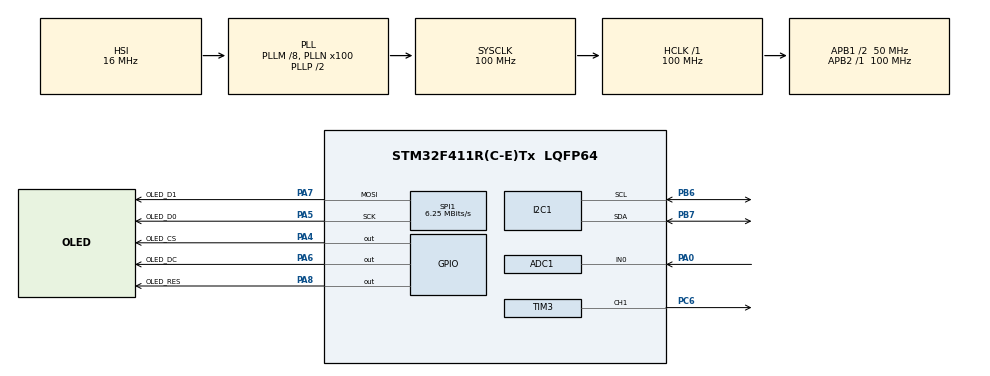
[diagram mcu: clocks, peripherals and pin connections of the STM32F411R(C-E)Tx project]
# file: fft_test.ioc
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ADC1.Channel-1\#ChannelRegularConversion=ADC_CHANNEL_0
ADC1.ClockPrescaler=ADC_CLOCK_SYNC_PCLK_DIV8
ADC1.DMAContinuousRequests=ENABLE
ADC1.ExternalTrigConv=ADC_EXTERNALTRIGCONV_T2_TRGO
ADC1.InjNumberOfConversion=0
ADC1.NbrOfConversionFlag=1
ADC1.Rank-1\#ChannelRegularConversion=1
ADC1.SamplingTime-1\#ChannelRegularConversion=ADC_SAMPLETIME_3CYCLES
ADC1.master=1
Dma.ADC1.0.Direction=DMA_PERIPH_TO_MEMORY
Dma.ADC1.0.FIFOMode=DMA_FIFOMODE_DISABLE
Dma.ADC1.0.Instance=DMA2_Stream0
Dma.ADC1.0.MemDataAlignment=DMA_MDATAALIGN_HALFWORD
Dma.ADC1.0.MemInc=DMA_MINC_ENABLE
Dma.ADC1.0.Mode=DMA_CIRCULAR
Dma.ADC1.0.PeriphDataAlignment=DMA_PDATAALIGN_HALFWORD
Dma.ADC1.0.PeriphInc=DMA_PINC_DISABLE
Dma.ADC1.0.Priority=DMA_PRIORITY_LOW
Dma.Request0=ADC1
I2C1.I2C_Mode=I2C_Fast
Mcu.Family=STM32F4
Mcu.Name=STM32F411R(C-E)Tx
Mcu.Package=LQFP64
NVIC.DMA2_Stream0_IRQn=true\:0\:0\:false\:false\:true\:false\:true\:true
NVIC.PriorityGroup=NVIC_PRIORITYGROUP_4
NVIC.TIM2_IRQn=true\:0\:0\:false\:false\:true\:true\:true\:true
PA0-WKUP.Signal=ADCx_IN0
PA4.GPIO_Label=OLED_CS
PA4.Signal=GPIO_Output
PA5.GPIO_Label=OLED_D0
PA5.Mode=TX_Only_Simplex_Unidirect_Master
PA5.Signal=SPI1_SCK
PA6.GPIO_Label=OLED_DC
PA6.Signal=GPIO_Output
PA7.GPIO_Label=OLED_D1
PA7.Mode=TX_Only_Simplex_Unidirect_Master
PA7.Signal=SPI1_MOSI
PA8.GPIO_Label=OLED_RES
PA8.Signal=GPIO_Output
PB6.GPIO_Pu=GPIO_PULLUP
PB6.Mode=I2C
PB6.Signal=I2C1_SCL
PB7.GPIO_Pu=GPIO_PULLUP
PB7.Mode=I2C
PB7.Signal=I2C1_SDA
PC6.Signal=S_TIM3_CH1
ProjectManager.HeapSize=0x200
ProjectManager.StackSize=0x400
ProjectManager.TargetToolchain=STM32CubeIDE
RCC.48MHZClocksFreq_Value=50000000
RCC.AHBFreq_Value=100000000
RCC.APB1CLKDivider=RCC_HCLK_DIV2
RCC.APB1Freq_Value=50000000
RCC.APB1TimFreq_Value=100000000
RCC.APB2Freq_Value=100000000
RCC.APB2TimFreq_Value=100000000
RCC.CortexFreq_Value=100000000
RCC.HCLKFreq_Value=100000000
RCC.HSE_VALUE=25000000
RCC.HSI_VALUE=16000000
RCC.LSE_VALUE=32768
RCC.PLLM=8
RCC.PLLN=100
RCC.SYSCLKFreq_VALUE=100000000
RCC.SYSCLKSource=RCC_SYSCLKSOURCE_PLLCLK
RCC.VCOOutputFreq_Value=200000000
SH.ADCx_IN0.0=ADC1_IN0,IN0
SH.S_TIM3_CH1.0=TIM3_CH1,PWM Generation1 CH1
SPI1.BaudRatePrescaler=SPI_BAUDRATEPRESCALER_16
SPI1.CLKPhase=SPI_PHASE_2EDGE
SPI1.CLKPolarity=SPI_POLARITY_HIGH
SPI1.CalculateBaudRate=6.25 MBits/s
SPI1.Direction=SPI_DIRECTION_2LINES
SPI1.Mode=SPI_MODE_MASTER
SPI1.VirtualType=VM_MASTER
TIM2.Period=25-1
TIM2.Prescaler=100-1
TIM2.TIM_MasterOutputTrigger=TIM_TRGO_UPDATE
TIM3.Channel-PWM\ Generation1\ CH1=TIM_CHANNEL_1
TIM3.Period=1000-1
TIM3.Prescaler=100-1
TIM3.Pulse-PWM\ Generation1\ CH1=500-1
VP_TIM2_VS_ClockSourceINT.Mode=Internal
VP_TIM3_VS_ClockSourceINT.Mode=Internal
board=custom

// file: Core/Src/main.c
/* USER CODE BEGIN Header */
/**
 ******************************************************************************
 * @file           : main.c
 * @brief          : Main program body
 ******************************************************************************
 * @attention
 *
 * Copyright (c) 2024 STMicroelectronics.
 * All rights reserved.
 *
 * This software is licensed under terms that can be found in the LICENSE file
 * in the root directory of this software component.
 * If no LICENSE file comes with this software, it is provided AS-IS.
 *
 ******************************************************************************
 */
/* USER CODE END Header */
#include "main.h"

/* USER CODE BEGIN Includes */
#include "u8g2/u8g2.h"
#include <math.h>
#include "arm_math.h"
#include "I2C_CLCD.h"
/* USER CODE END Includes */

/* USER CODE BEGIN PD */
#define FFT_Length 1024

/* USER CODE END PD */

ADC_HandleTypeDef hadc1;
DMA_HandleTypeDef hdma_adc1;

I2C_HandleTypeDef hi2c1;

SPI_HandleTypeDef hspi1;

TIM_HandleTypeDef htim2;
TIM_HandleTypeDef htim3;

/* USER CODE BEGIN PV */
float32_t FFT_Input_Q15_f[50];
float32_t aFFT_Input_Q15[50];

/* USER CODE END PV */

void SystemClock_Config(void);
static void MX_GPIO_Init(void);
static void MX_DMA_Init(void);
static void MX_SPI1_Init(void);
static void MX_ADC1_Init(void);
static void MX_TIM2_Init(void);
static void MX_TIM3_Init(void);
static void MX_I2C1_Init(void);
/* USER CODE BEGIN PFP */
extern uint8_t u8x8_stm32_gpio_and_delay(u8x8_t *u8x8, uint8_t msg,
		uint8_t arg_int, void *arg_ptr);
extern uint8_t u8x8_byte_stm32_hw_spi(u8x8_t *u8x8, uint8_t msg,
		uint8_t arg_int, void *arg_ptr);
/* USER CODE END PFP */

/* USER CODE BEGIN 0 */
static u8g2_t u8g2;
uint32_t doConvert = 128;
//fft
#define SamplesFft 2048
#define SamplingRate 40000
uint16_t adValue[SamplesFft];
float32_t input[SamplesFft];
float32_t output[SamplesFft];

void HAL_TIM_PeriodElapsedCallback(TIM_HandleTypeDef *hTim) {
	if (doConvert > 0)
		doConvert--;
}
//void writeI2C(uint16_t address, uint8_t data){
//
//	HAL_I2C_Mem_Write(&hi2c1, 0x27, address, 2,&data,1, 1);
//}
//void readI2C(uint16_t address){
//	uint8_t result;
//	HAL_I2C_Mem_Read(&hi2c1, 0x27, address, 2,&result,1, 1);
//	return result;
//}
/* USER CODE END 0 */

int main(void)
{

  /* USER CODE BEGIN 1 */
			//arm_float_to_q15((float32_t*)&FFT_Input_Q15_f[0],(q15_t*)&aFFT_Input_Q15[0],FFT_Length*2);
  /* USER CODE END 1 */

  /* MCU Configuration--------------------------------------------------------*/

  /* Reset of all peripherals, Initializes the Flash interface and the Systick. */
  HAL_Init();

  /* Configure the system clock */
  SystemClock_Config();

  /* Initialize all configured peripherals */
  MX_GPIO_Init();
  MX_DMA_Init();
  MX_SPI1_Init();
  MX_ADC1_Init();
  MX_TIM2_Init();
  MX_TIM3_Init();
  MX_I2C1_Init();
  /* USER CODE BEGIN 2 */
	uint16_t adcValue[SamplesFft];
	HAL_ADC_Start_DMA(&hadc1, (uint32_t*) adcValue, SamplesFft);
	HAL_TIM_Base_Start_IT(&htim2);
	HAL_TIM_PWM_Start(&htim3,TIM_CHANNEL_1);
	//init CLCD
	I2C_CLCD_init(&hi2c1);
	//setup ssd1306
	u8g2_Setup_ssd1306_128x64_noname_f(&u8g2, U8G2_R0, u8x8_byte_stm32_hw_spi,
			u8x8_stm32_gpio_and_delay);
	//init ssd1306
	u8g2_InitDisplay(&u8g2);
	u8g2_SetPowerSave(&u8g2, 0);
//
  u8g2_ClearBuffer(&u8g2);
//  u8g2_SetDrawColor(&u8g2, 1);
	 u8g2_SetFont(&u8g2, u8g2_font_5x7_mf);
	// u8g2_DrawStr(&u8g2, 0, 0, "Hello world");
	// korean font
//  u8g2_SetFont(&u8g2, u8g2_font_unifont_t_korean1);
//  u8g2_DrawUTF8(&u8g2, 2, 30, "?��?��? ?��?��구니?");
//  u8g2_SendBuffer(&u8g2);

  /* USER CODE END 2 */

  /* Infinite loop */
  /* USER CODE BEGIN WHILE */
	u8g2_SetDrawColor(&u8g2, 1);

	/*/i2c test code
	int lineNumber = 10;
	for(int address =0; address<256; address++){
		if(HAL_I2C_IsDeviceReady(&hi2c1, address,0,1)==HAL_OK){
			char str[20];
			sprintf(str, "0x%02x is ok", address);
			u8g2_DrawStr(&u8g2,0,lineNumber,str);
			lineNumber +=10;
		}
	}
  u8g2_SendBuffer(&u8g2);
	while(1);
	//*/
	//lcd custion font
	I2C_CLCD_CustomFont();
	I2C_CLCD_GotoXY(0, 0);
	I2C_CLCD_
	//initialize FFT
	arm_rfft_fast_instance_f32 fftInstance;
	arm_rfft_fast_init_f32(&fftInstance, SamplesFft);
	while (1) {
			static int time;
			static int freq =1;
			if(HAL_GetTick() - time > 10){
				time =HAL_GetTick();
				freq +=10;
				freq %=20000;
				htim3.Instance->ARR = 1000000 /freq -1;
				htim3.Instance ->CNT = 0;
				htim3.Instance->CCR1 = htim3.Instance->ARR/2;
			}
			if (doConvert==0){
			doConvert = SamplesFft;
			//date move
			for(int i=0; i<SamplesFft; i++){
				input[i] =(float32_t)adcValue[i];
			}
			//cal fft
			arm_rfft_fast_f32(&fftInstance,input,output,0);
			//search frequency
			float32_t magnitude[SamplesFft /2];
			arm_cmplx_mag_f32(output, magnitude, SamplesFft/2);

			uint32_t maxIndex = 0;
			float32_t maxValue = 0;
			for (int i =1; i<SamplesFft/2; i++){
				if(magnitude[i]>maxValue){
					maxValue = magnitude[i];
					maxIndex = i;
				}
			}
			float frequency = maxIndex *((float)SamplingRate/(float)SamplesFft);
			//align data
			uint32_t showData[128] = {0, };
			for(int i =0; i<128; i++){
				for(int j =0; j<8; j++){
					showData[i] += output[i*8+j];
				}
				showData[i] /= 40000;
			}
			//show display
			u8g2_ClearBuffer(&u8g2);
			for (int x = 2; x < 128; x++) {
				if(showData[x] > 63) showData[x] = 63;
				u8g2_DrawLine(&u8g2, x,63,x, 64-showData[x]);
			}
			char str[20];
			sprintf(str, "%5dHz", (int)frequency);
			I2C_CLCD_GotoXY(0, 0);
			I2C_CLCD_PutStr(str);
			//u8g2_DrawStr(&u8g2,70,10,str);
			u8g2_SendBuffer(&u8g2);
		}

    /* USER CODE END WHILE */

	}

}
void SystemClock_Config(void)
{
  RCC_OscInitTypeDef RCC_OscInitStruct = {0};
  RCC_ClkInitTypeDef RCC_ClkInitStruct = {0};

  /** Configure the main internal regulator output voltage
  */
  __HAL_RCC_PWR_CLK_ENABLE();
  __HAL_PWR_VOLTAGESCALING_CONFIG(PWR_REGULATOR_VOLTAGE_SCALE1);

  /** Initializes the RCC Oscillators according to the specified parameters
  * in the RCC_OscInitTypeDef structure.
  */
  RCC_OscInitStruct.OscillatorType = RCC_OSCILLATORTYPE_HSI;
  RCC_OscInitStruct.HSIState = RCC_HSI_ON;
  RCC_OscInitStruct.HSICalibrationValue = RCC_HSICALIBRATION_DEFAULT;
  RCC_OscInitStruct.PLL.PLLState = RCC_PLL_ON;
  RCC_OscInitStruct.PLL.PLLSource = RCC_PLLSOURCE_HSI;
  RCC_OscInitStruct.PLL.PLLM = 8;
  RCC_OscInitStruct.PLL.PLLN = 100;
  RCC_OscInitStruct.PLL.PLLP = RCC_PLLP_DIV2;
  RCC_OscInitStruct.PLL.PLLQ = 4;
  if (HAL_RCC_OscConfig(&RCC_OscInitStruct) != HAL_OK)
  {
    Error_Handler();
  }

  /** Initializes the CPU, AHB and APB buses clocks
  */
  RCC_ClkInitStruct.ClockType = RCC_CLOCKTYPE_HCLK|RCC_CLOCKTYPE_SYSCLK
                              |RCC_CLOCKTYPE_PCLK1|RCC_CLOCKTYPE_PCLK2;
  RCC_ClkInitStruct.SYSCLKSource = RCC_SYSCLKSOURCE_PLLCLK;
  RCC_ClkInitStruct.AHBCLKDivider = RCC_SYSCLK_DIV1;
  RCC_ClkInitStruct.APB1CLKDivider = RCC_HCLK_DIV2;
  RCC_ClkInitStruct.APB2CLKDivider = RCC_HCLK_DIV1;

  if (HAL_RCC_ClockConfig(&RCC_ClkInitStruct, FLASH_LATENCY_3) != HAL_OK)
  {
    Error_Handler();
  }
}

static void MX_ADC1_Init(void)
{

  ADC_ChannelConfTypeDef sConfig = {0};

  /** Configure the global features of the ADC (Clock, Resolution, Data Alignment and number of conversion)
  */
  hadc1.Instance = ADC1;
  hadc1.Init.ClockPrescaler = ADC_CLOCK_SYNC_PCLK_DIV8;
  hadc1.Init.Resolution = ADC_RESOLUTION_12B;
  hadc1.Init.ScanConvMode = DISABLE;
  hadc1.Init.ContinuousConvMode = DISABLE;
  hadc1.Init.DiscontinuousConvMode = DISABLE;
  hadc1.Init.ExternalTrigConvEdge = ADC_EXTERNALTRIGCONVEDGE_RISING;
  hadc1.Init.ExternalTrigConv = ADC_EXTERNALTRIGCONV_T2_TRGO;
  hadc1.Init.DataAlign = ADC_DATAALIGN_RIGHT;
  hadc1.Init.NbrOfConversion = 1;
  hadc1.Init.DMAContinuousRequests = ENABLE;
  hadc1.Init.EOCSelection = ADC_EOC_SINGLE_CONV;
  if (HAL_ADC_Init(&hadc1) != HAL_OK)
  {
    Error_Handler();
  }

  /** Configure for the selected ADC regular channel its corresponding rank in the sequencer and its sample time.
  */
  sConfig.Channel = ADC_CHANNEL_0;
  sConfig.Rank = 1;
  sConfig.SamplingTime = ADC_SAMPLETIME_3CYCLES;
  if (HAL_ADC_ConfigChannel(&hadc1, &sConfig) != HAL_OK)
  {
    Error_Handler();
  }

}

static void MX_I2C1_Init(void)
{

  hi2c1.Instance = I2C1;
  hi2c1.Init.ClockSpeed = 400000;
  hi2c1.Init.DutyCycle = I2C_DUTYCYCLE_2;
  hi2c1.Init.OwnAddress1 = 0;
  hi2c1.Init.AddressingMode = I2C_ADDRESSINGMODE_7BIT;
  hi2c1.Init.DualAddressMode = I2C_DUALADDRESS_DISABLE;
  hi2c1.Init.OwnAddress2 = 0;
  hi2c1.Init.GeneralCallMode = I2C_GENERALCALL_DISABLE;
  hi2c1.Init.NoStretchMode = I2C_NOSTRETCH_DISABLE;
  if (HAL_I2C_Init(&hi2c1) != HAL_OK)
  {
    Error_Handler();
  }

}

static void MX_SPI1_Init(void)
{

  /* SPI1 parameter configuration*/
  hspi1.Instance = SPI1;
  hspi1.Init.Mode = SPI_MODE_MASTER;
  hspi1.Init.Direction = SPI_DIRECTION_2LINES;
  hspi1.Init.DataSize = SPI_DATASIZE_8BIT;
  hspi1.Init.CLKPolarity = SPI_POLARITY_HIGH;
  hspi1.Init.CLKPhase = SPI_PHASE_2EDGE;
  hspi1.Init.NSS = SPI_NSS_SOFT;
  hspi1.Init.BaudRatePrescaler = SPI_BAUDRATEPRESCALER_16;
  hspi1.Init.FirstBit = SPI_FIRSTBIT_MSB;
  hspi1.Init.TIMode = SPI_TIMODE_DISABLE;
  hspi1.Init.CRCCalculation = SPI_CRCCALCULATION_DISABLE;
  hspi1.Init.CRCPolynomial = 10;
  if (HAL_SPI_Init(&hspi1) != HAL_OK)
  {
    Error_Handler();
  }

}

static void MX_TIM2_Init(void)
{

  TIM_ClockConfigTypeDef sClockSourceConfig = {0};
  TIM_MasterConfigTypeDef sMasterConfig = {0};

  htim2.Instance = TIM2;
  htim2.Init.Prescaler = 100-1;
  htim2.Init.CounterMode = TIM_COUNTERMODE_UP;
  htim2.Init.Period = 25-1;
  htim2.Init.ClockDivision = TIM_CLOCKDIVISION_DIV1;
  htim2.Init.AutoReloadPreload = TIM_AUTORELOAD_PRELOAD_DISABLE;
  if (HAL_TIM_Base_Init(&htim2) != HAL_OK)
  {
    Error_Handler();
  }
  sClockSourceConfig.ClockSource = TIM_CLOCKSOURCE_INTERNAL;
  if (HAL_TIM_ConfigClockSource(&htim2, &sClockSourceConfig) != HAL_OK)
  {
    Error_Handler();
  }
  sMasterConfig.MasterOutputTrigger = TIM_TRGO_UPDATE;
  sMasterConfig.MasterSlaveMode = TIM_MASTERSLAVEMODE_DISABLE;
  if (HAL_TIMEx_MasterConfigSynchronization(&htim2, &sMasterConfig) != HAL_OK)
  {
    Error_Handler();
  }

}

static void MX_TIM3_Init(void)
{

  TIM_ClockConfigTypeDef sClockSourceConfig = {0};
  TIM_MasterConfigTypeDef sMasterConfig = {0};
  TIM_OC_InitTypeDef sConfigOC = {0};

  htim3.Instance = TIM3;
  htim3.Init.Prescaler = 100-1;
  htim3.Init.CounterMode = TIM_COUNTERMODE_UP;
  htim3.Init.Period = 1000-1;
  htim3.Init.ClockDivision = TIM_CLOCKDIVISION_DIV1;
  htim3.Init.AutoReloadPreload = TIM_AUTORELOAD_PRELOAD_DISABLE;
  if (HAL_TIM_Base_Init(&htim3) != HAL_OK)
  {
    Error_Handler();
  }
  sClockSourceConfig.ClockSource = TIM_CLOCKSOURCE_INTERNAL;
  if (HAL_TIM_ConfigClockSource(&htim3, &sClockSourceConfig) != HAL_OK)
  {
    Error_Handler();
  }
  if (HAL_TIM_PWM_Init(&htim3) != HAL_OK)
  {
    Error_Handler();
  }
  sMasterConfig.MasterOutputTrigger = TIM_TRGO_RESET;
  sMasterConfig.MasterSlaveMode = TIM_MASTERSLAVEMODE_DISABLE;
  if (HAL_TIMEx_MasterConfigSynchronization(&htim3, &sMasterConfig) != HAL_OK)
  {
    Error_Handler();
  }
  sConfigOC.OCMode = TIM_OCMODE_PWM1;
  sConfigOC.Pulse = 500-1;
  sConfigOC.OCPolarity = TIM_OCPOLARITY_HIGH;
  sConfigOC.OCFastMode = TIM_OCFAST_DISABLE;
  if (HAL_TIM_PWM_ConfigChannel(&htim3, &sConfigOC, TIM_CHANNEL_1) != HAL_OK)
  {
    Error_Handler();
  }
  HAL_TIM_MspPostInit(&htim3);

}

static void MX_DMA_Init(void)
{

  /* DMA controller clock enable */
  __HAL_RCC_DMA2_CLK_ENABLE();

  /* DMA interrupt init */
  /* DMA2_Stream0_IRQn interrupt configuration */
  HAL_NVIC_SetPriority(DMA2_Stream0_IRQn, 0, 0);
  HAL_NVIC_EnableIRQ(DMA2_Stream0_IRQn);

}

static void MX_GPIO_Init(void)
{
  GPIO_InitTypeDef GPIO_InitStruct = {0};

  /* GPIO Ports Clock Enable */
  __HAL_RCC_GPIOA_CLK_ENABLE();
  __HAL_RCC_GPIOC_CLK_ENABLE();
  __HAL_RCC_GPIOB_CLK_ENABLE();

  /*Configure GPIO pin Output Level */
  HAL_GPIO_WritePin(GPIOA, OLED_CS_Pin|OLED_DC_Pin|OLED_RES_Pin, GPIO_PIN_RESET);

  /*Configure GPIO pins : OLED_CS_Pin OLED_DC_Pin OLED_RES_Pin */
  GPIO_InitStruct.Pin = OLED_CS_Pin|OLED_DC_Pin|OLED_RES_Pin;
  GPIO_InitStruct.Mode = GPIO_MODE_OUTPUT_PP;
  GPIO_InitStruct.Pull = GPIO_NOPULL;
  GPIO_InitStruct.Speed = GPIO_SPEED_FREQ_LOW;
  HAL_GPIO_Init(GPIOA, &GPIO_InitStruct);

}

void Error_Handler(void)
{
	__disable_irq();
	while (1) {
	}
}
